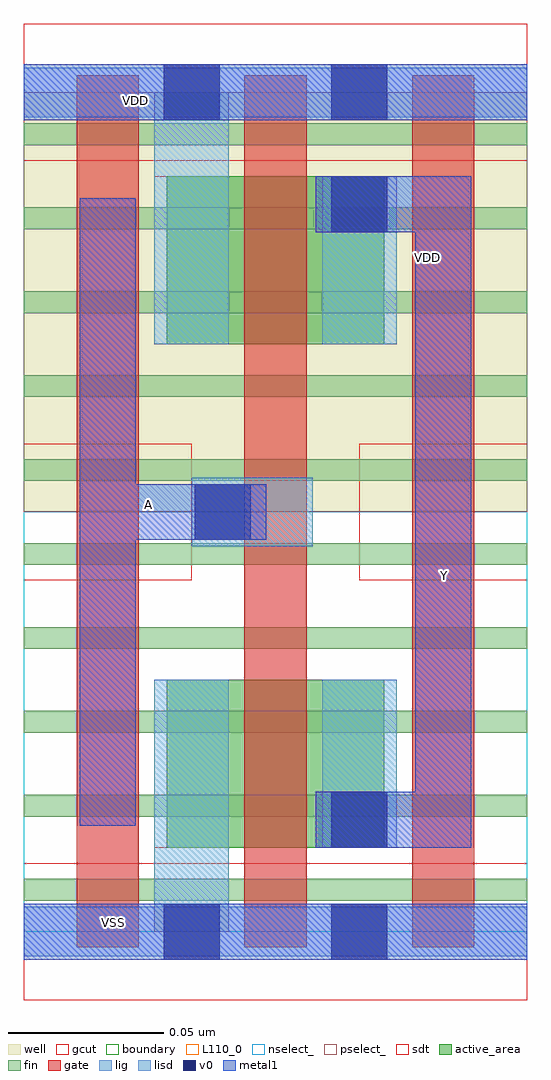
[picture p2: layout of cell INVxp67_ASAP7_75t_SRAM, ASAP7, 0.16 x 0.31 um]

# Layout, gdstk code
import gdstk
lib = gdstk.Library(unit=1e-6, precision=2.5e-10)
def R(c, l, rs):  # rectangles x0, y0, x1, y1
    for r in rs: c.add(gdstk.rectangle(r[:2], r[2:], *l))
def A(c, l, x, y, w, h, nx, ny, dx, dy):  # array of equal rectangles
    R(c, l, [(x+i*dx, y+j*dy, x+i*dx+w, y+j*dy+h) for i in range(nx) for j in range(ny)])
def P(c, l, *ps):  # polygons
    for p in ps: c.add(gdstk.Polygon(p, *l))
well = (1, 0)
fin = (2, 0)
gate = (7, 0)
gcut = (10, 0)
active_area = (11, 0)
nselect_ = (12, 0)
pselect_ = (13, 0)
lig = (16, 0)
lisd = (17, 0)
v0 = (18, 0)
metal1 = (19, 0)
sdt = (88, 0)
boundary = (100, 0)
L110_0 = (110, 0)

invxp67_asap7_75t_sram = lib.new_cell('INVxp67_ASAP7_75t_SRAM')
R(invxp67_asap7_75t_sram, well, [(0,0.135,0.162,0.27)])
A(invxp67_asap7_75t_sram, fin, 0, 0.01, 0.162, 0.007, 1, 10, 0, 0.027)
A(invxp67_asap7_75t_sram, gate, 0.017, -0.005, 0.02, 0.2805, 3, 1, 0.054, 0)
R(invxp67_asap7_75t_sram, gcut, [(0,-0.022,0.162,0.022), (0,0.113,0.054,0.157), (0.108,0.113,0.162,0.157), (0,0.248,0.162,0.292)])
R(invxp67_asap7_75t_sram, active_area, [(0.046,0.027,0.116,0.081), (0.046,0.189,0.116,0.243)])
R(invxp67_asap7_75t_sram, nselect_, [(0,0,0.162,0.135)])
R(invxp67_asap7_75t_sram, pselect_, [(0,0.135,0.162,0.27)])
R(invxp67_asap7_75t_sram, lig, [(0,-0.008,0.162,0.008), (0.054,0.124,0.093,0.146), (0,0.262,0.162,0.278)])
R(invxp67_asap7_75t_sram, lisd, [(0.042,0,0.066,0.081), (0.096,0.027,0.12,0.081), (0.042,0.189,0.066,0.27), (0.096,0.189,0.12,0.243)])
R(invxp67_asap7_75t_sram, v0, [(0.045,-0.009,0.063,0.009), (0.099,-0.009,0.117,0.009), (0.099,0.027,0.117,0.045), (0.055,0.126,0.073,0.144), (0.099,0.225,0.117,0.243), (0.045,0.261,0.063,0.279), (0.099,0.261,0.117,0.279)])
R(invxp67_asap7_75t_sram, metal1, [(0,-0.009,0.162,0.009), (0,0.261,0.162,0.279)])
P(invxp67_asap7_75t_sram, metal1, [(0.078,0.144),(0.036,0.144),(0.036,0.236),(0.018,0.236),(0.018,0.034),(0.036,0.034),(0.036,0.126),(0.078,0.126)],
  [(0.144,0.243),(0.094,0.243),(0.094,0.225),(0.126,0.225),(0.126,0.045),(0.094,0.045),(0.094,0.027),(0.144,0.027)])
R(invxp67_asap7_75t_sram, sdt, [(0.042,0.027,0.066,0.081), (0.096,0.027,0.12,0.081), (0.042,0.189,0.066,0.243), (0.096,0.189,0.12,0.243)])
R(invxp67_asap7_75t_sram, boundary, [(0,0,0.162,0.27)])
R(invxp67_asap7_75t_sram, L110_0, [(0,0,0.162,0.27)])
invxp67_asap7_75t_sram.add(gdstk.Label('VDD', (0.13,0.217), layer=1, texttype=251))
invxp67_asap7_75t_sram.add(gdstk.Label('VSS', (0.029,0.003), layer=19, texttype=251))
invxp67_asap7_75t_sram.add(gdstk.Label('VDD', (0.036,0.2675), layer=19, texttype=251))
invxp67_asap7_75t_sram.add(gdstk.Label('A', (0.04,0.1375), layer=19, texttype=251))
invxp67_asap7_75t_sram.add(gdstk.Label('Y', (0.1355,0.1145), layer=19, texttype=251))
invxp67_asap7_75t_sram.add(gdstk.Label('VSS', (0.199,0.216), layer=3, texttype=251))

lib.write_gds('INVxp67_ASAP7_75t_SRAM.gds')
